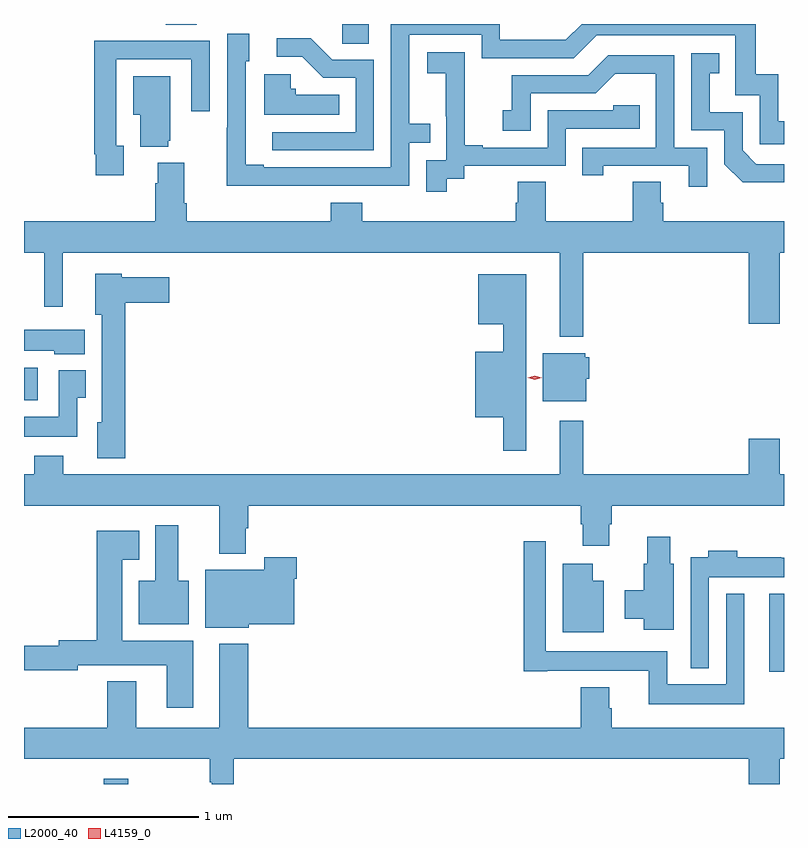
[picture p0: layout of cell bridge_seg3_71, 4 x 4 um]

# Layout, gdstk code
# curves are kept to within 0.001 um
import gdstk
lib = gdstk.Library(unit=1e-6, precision=1e-09)
def R(c, l, rs):  # rectangles x0, y0, x1, y1
    for r in rs: c.add(gdstk.rectangle(r[:2], r[2:], *l))
def P(c, l, *ps):  # polygons
    for p in ps: c.add(gdstk.Polygon(p, *l))
L2000_40 = (2000, 40)
L4159_0 = (4159, 0)

bridge_seg3_71 = lib.new_cell('bridge_seg3_71')
R(bridge_seg3_71, L2000_40, [(413.362,674.143,413.491,674.17), (416.864,674.734,416.942,675.145), (412.942,676.163,413.014,676.333), (414.618,678.04,414.757,678.143), (413.687,678.139,413.852,678.143)])
P(bridge_seg3_71, L2000_40, [(414.473,677.292),(414.969,677.292),(414.969,677.517),(415.079,677.517),(415.079,677.618),(414.969,677.618),(414.969,678.087),(415.35,678.087),(415.35,677.964),(415.836,677.964),(415.956,678.084),(416.685,678.084),(416.685,677.769),(416.814,677.769),(416.814,677.511),(416.942,677.511),(416.942,677.631),(416.912,677.631),(416.912,677.878),(416.794,677.878),(416.794,678.143),(415.877,678.143),(415.794,678.06),(415.447,678.06),(415.447,678.143),(414.873,678.143),(414.873,677.388),(414.205,677.388),(414.205,677.401),(414.108,677.401),(414.108,677.946),(414.127,677.946),(414.127,678.091),(414.012,678.091),(414.012,677.597),(414.01,677.597),(414.01,677.291)],
  [(414.783,677.955),(414.564,677.955),(414.451,678.068),(414.273,678.068),(414.273,677.97),(414.407,677.97),(414.518,677.859),(414.687,677.859),(414.687,677.574),(414.249,677.574),(414.249,677.478),(414.783,677.478)],
  [(413.467,677.502),(413.427,677.502),(413.427,677.958),(413.823,677.958),(413.823,677.685),(413.919,677.685),(413.919,678.054),(413.603,678.054),(413.603,678.056),(413.311,678.056),(413.311,677.458),(413.319,677.458),(413.319,677.346),(413.467,677.346)],
  [(415.168,677.329),(415.26,677.329),(415.26,677.397),(415.794,677.397),(415.794,677.592),(416.183,677.592),(416.183,677.715),(416.043,677.715),(416.043,677.688),(415.698,677.688),(415.698,677.493),(415.357,677.493),(415.357,677.506),(415.262,677.506),(415.262,677.789),(415.263,677.789),(415.263,677.995),(415.065,677.995),(415.065,677.885),(415.163,677.885),(415.163,677.657),(415.164,677.657),(415.164,677.427),(415.059,677.427),(415.059,677.259),(415.168,677.259)],
  [(416.942,677.406),(416.796,677.406),(416.724,677.478),(416.724,677.679),(416.551,677.679),(416.551,677.883),(416.6,677.883),(416.6,677.989),(416.454,677.989),(416.454,677.583),(416.628,677.583),(416.628,677.406),(416.726,677.309),(416.942,677.309)],
  [(416.538,677.493),(416.364,677.493),(416.364,677.979),(416.018,677.979),(415.913,677.874),(415.51,677.874),(415.51,677.689),(415.461,677.689),(415.461,677.58),(415.608,677.58),(415.608,677.778),(415.95,677.778),(416.054,677.882),(416.268,677.882),(416.268,677.493),(415.879,677.493),(415.879,677.346),(415.99,677.346),(415.99,677.397),(416.441,677.397),(416.441,677.286),(416.538,677.286)],
  [(414.602,677.77),(414.372,677.77),(414.372,677.802),(414.345,677.802),(414.345,677.878),(414.206,677.878),(414.206,677.666),(414.602,677.666)],
  [(413.702,677.529),(413.713,677.529),(413.713,677.869),(413.516,677.869),(413.516,677.666),(413.555,677.666),(413.555,677.498),(413.702,677.498)],
  [(416.756,676.566),(416.92,676.566),(416.92,676.94),(416.942,676.94),(416.942,677.104),(416.306,677.104),(416.306,677.202),(416.293,677.202),(416.293,677.312),(416.146,677.312),(416.146,677.104),(415.689,677.104),(415.689,677.312),(415.541,677.312),(415.541,677.202),(415.529,677.202),(415.529,677.104),(414.722,677.104),(414.722,677.203),(414.557,677.203),(414.557,677.104),(413.798,677.104),(413.798,677.2),(413.785,677.2),(413.785,677.413),(413.645,677.413),(413.645,677.306),(413.633,677.306),(413.633,677.104),(412.942,677.104),(412.942,676.94),(413.048,676.94),(413.048,676.656),(413.146,676.656),(413.146,676.94),(415.763,676.94),(415.763,676.496),(415.885,676.496),(415.885,676.94),(416.756,676.94)],
  [(413.474,676.676),(413.707,676.676),(413.707,676.81),(413.457,676.81),(413.457,676.828),(413.318,676.828),(413.318,676.614),(413.351,676.614),(413.351,676.047),(413.327,676.047),(413.327,675.857),(413.474,675.857)],
  [(415.585,676.825),(415.334,676.825),(415.334,676.562),(415.464,676.562),(415.464,676.417),(415.316,676.417),(415.316,676.073),(415.464,676.073),(415.464,675.897),(415.585,675.897)],
  [(413.263,676.534),(412.942,676.534),(412.942,676.424),(413.1,676.424),(413.1,676.406),(413.263,676.406)],
  [(415.9,676.275),(415.918,676.275),(415.918,676.389),(415.896,676.389),(415.896,676.411),(415.673,676.411),(415.673,676.157),(415.9,676.157)],
  [(413.221,676.177),(413.266,676.177),(413.266,676.321),(413.124,676.321),(413.124,676.075),(412.942,676.075),(412.942,675.971),(413.221,675.971)],
  [(414.109,675.488),(414.122,675.488),(414.122,675.608),(415.871,675.608),(415.871,675.51),(415.883,675.51),(415.883,675.396),(416.023,675.396),(416.023,675.51),(416.036,675.51),(416.036,675.608),(416.942,675.608),(416.942,675.772),(416.92,675.772),(416.92,675.961),(416.756,675.961),(416.756,675.772),(415.885,675.772),(415.885,676.054),(415.763,676.054),(415.763,675.772),(413.149,675.772),(413.149,675.871),(412.997,675.871),(412.997,675.772),(412.942,675.772),(412.942,675.608),(413.969,675.608),(413.969,675.356),(414.109,675.356)],
  [(413.809,675.214),(413.755,675.214),(413.755,675.505),(413.633,675.505),(413.633,675.214),(413.546,675.214),(413.546,674.984),(413.809,674.984)],
  [(413.833,674.896),(413.458,674.896),(413.458,675.323),(413.548,675.323),(413.548,675.475),(413.324,675.475),(413.324,674.9),(413.126,674.9),(413.126,674.87),(412.942,674.87),(412.942,674.742),(413.224,674.742),(413.224,674.768),(413.693,674.768),(413.693,674.544),(413.833,674.544)],
  [(416.362,675.303),(416.344,675.303),(416.344,675.445),(416.222,675.445),(416.222,675.303),(416.204,675.303),(416.204,675.162),(416.105,675.162),(416.105,675.014),(416.204,675.014),(416.204,674.955),(416.362,674.955)],
  [(416.734,675.145),(416.637,675.145),(416.637,674.668),(416.328,674.668),(416.328,674.842),(415.689,674.842),(415.689,675.421),(415.573,675.421),(415.573,674.736),(415.696,674.736),(415.696,674.738),(416.231,674.738),(416.231,674.564),(416.734,674.564)],
  [(416.547,675.23),(416.942,675.23),(416.942,675.334),(416.927,675.334),(416.927,675.337),(416.696,675.337),(416.696,675.37),(416.543,675.37),(416.543,675.337),(416.451,675.337),(416.451,674.753),(416.547,674.753)],
  [(414.126,674.984),(414.364,674.984),(414.364,675.224),(414.377,675.224),(414.377,675.337),(414.206,675.337),(414.206,675.271),(413.897,675.271),(413.897,674.966),(414.126,674.966)],
  [(415.993,675.214),(415.936,675.214),(415.936,675.301),(415.778,675.301),(415.778,674.942),(415.993,674.942)],
  [(414.047,674.276),(416.756,674.276),(416.756,674.143),(416.92,674.143),(416.92,674.276),(416.942,674.276),(416.942,674.44),(416.036,674.44),(416.036,674.541),(416.023,674.541),(416.023,674.653),(415.871,674.653),(415.871,674.44),(414.122,674.44),(414.122,674.881),(413.969,674.881),(413.969,674.44),(413.533,674.44),(413.533,674.683),(413.381,674.683),(413.381,674.44),(412.942,674.44),(412.942,674.276),(413.919,674.276),(413.919,674.153),(413.93,674.153),(413.93,674.143),(414.047,674.143)])
P(bridge_seg3_71, L4159_0, [(415.629,676.271),(415.593,676.281),(415.592,676.281),(415.593,676.281),(415.629,676.291),(415.666,676.282),(415.666,676.281),(415.666,676.281)])

lib.write_gds('bridge_seg3_71.gds')
